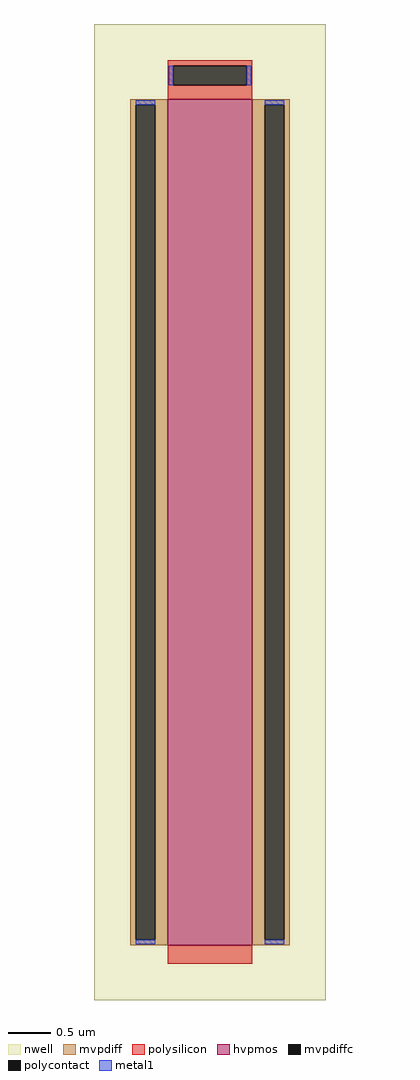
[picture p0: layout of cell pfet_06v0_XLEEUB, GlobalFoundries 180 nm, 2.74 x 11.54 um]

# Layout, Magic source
magic
tech gf180mcuD
magscale 1 10
<< nwell >>
rect -274 -1154 274 1154
<< hvpmos >>
rect -100 -1024 100 976
<< mvpdiff >>
rect -188 963 -100 976
rect -188 -1011 -175 963
rect -129 -1011 -100 963
rect -188 -1024 -100 -1011
rect 100 963 188 976
rect 100 -1011 129 963
rect 175 -1011 188 963
rect 100 -1024 188 -1011
<< mvpdiffc >>
rect -175 -1011 -129 963
rect 129 -1011 175 963
<< polysilicon >>
rect -100 1055 100 1068
rect -100 1009 -87 1055
rect 87 1009 100 1055
rect -100 976 100 1009
rect -100 -1068 100 -1024
<< polycontact >>
rect -87 1009 87 1055
<< metal1 >>
rect -98 1009 -87 1055
rect 87 1009 98 1055
rect -175 963 -129 974
rect -175 -1022 -129 -1011
rect 129 963 175 974
rect 129 -1022 175 -1011
<< properties >>
string gencell pfet_06v0
string library gf180mcu
string parameters w 10 l 1 m 1 nf 1 diffcov 100 polycov 100 guard 0 glc 0 grc 0 gtc 0 gbc 0 tbcov 100 rlcov 100 topc 1 botc 0 poverlap 0 doverlap 1 lmin 0.55 wmin 0.3 class mosfet full_metal 0 compatible {pfet_03v3 pfet_05v0 pfet_06v0}
<< end >>
